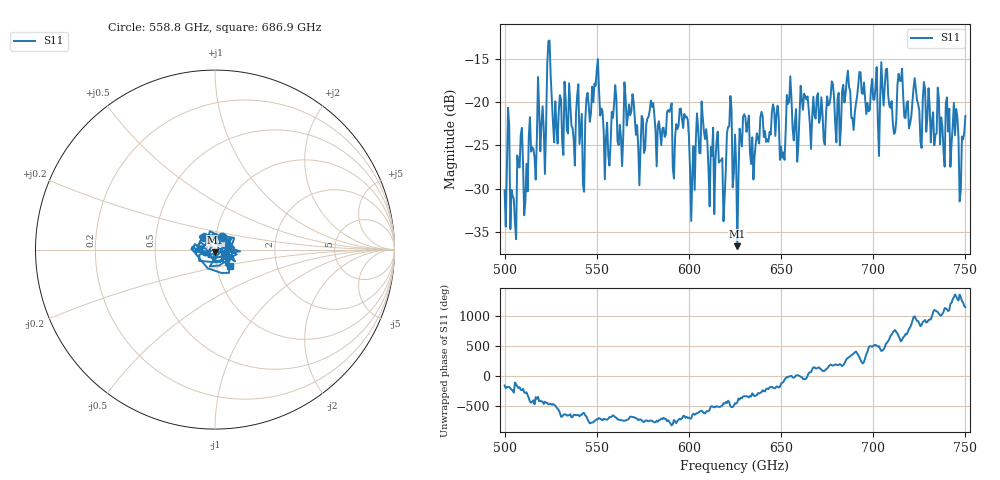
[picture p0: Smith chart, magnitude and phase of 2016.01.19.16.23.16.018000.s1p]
!Created with skrf (http://scikit-rf.org).
# GHz S RI R 50.0
!freq ReS11 ImS11
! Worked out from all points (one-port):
!   401 points, 500 GHz to 750 GHz, reference 50 ohm
!   lowest |S11| = -36.6 dB at 626.2 GHz (marker M1), VSWR 1.03, Z = 50.1 - j1.47 ohm
!   |S11| at or under -10 dB: start of sweep to end of sweep
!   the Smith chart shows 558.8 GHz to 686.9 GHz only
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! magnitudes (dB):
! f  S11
! 500 GHz  -30.2
! 502.5 GHz  -22.8
! 505 GHz  -31.2
! 508.1 GHz  -27.6
! 511.2 GHz  -31.5
! 521.2 GHz  -23.2
! 524.4 GHz  -12.9
! 527.5 GHz  -19.9
! 531.2 GHz  -24.6
! 541.9 GHz  -21.4
! 550 GHz  -16.3
! 555.6 GHz  -22.4
! 559.4 GHz  -20.3
! 562.5 GHz  -22.6
! 593.8 GHz  -23.1
! 601.9 GHz  -28.1
! 618.8 GHz  -33.8
! 621.9 GHz  -22.8
! 625 GHz  -23.8
! 626.2 GHz  -36.6
! 630.6 GHz  -21.8
! 650.6 GHz  -26.4
! 656.2 GHz  -23.0
! 687.5 GHz  -18.7
! 718.8 GHz  -19.9
! 744.4 GHz  -23.8
! 747.5 GHz  -30.3
! 750 GHz  -21.6
